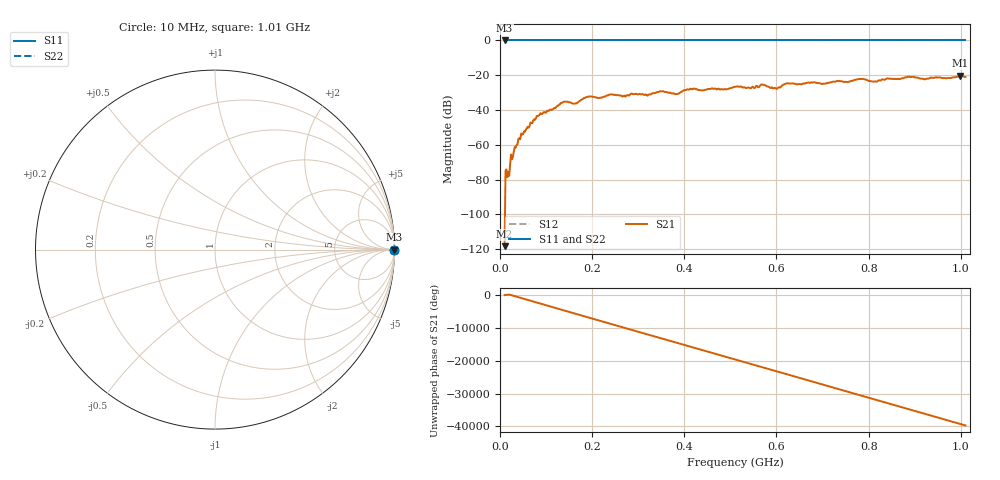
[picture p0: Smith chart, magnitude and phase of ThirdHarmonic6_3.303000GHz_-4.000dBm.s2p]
! 8/17/2025 10:18:07 AM
! C:\ANRITSUVNA\TEMP\TEMP.S2P
! CHANNEL.1
! TR.MEASUREMENT
! RAW.DATA
! RF.CORRECTION.OFF
! AVERAGING.OFF
! IF.BANDWIDTH: 5KHZ
! SWEEPTYPE:  FREQ.SWEEP(Linear)
! Reference Plane Port Info
! PORT:  PORT1  PORT2
! DISTANCE:  0  m  0  m
! TIME:  0  s  0  s
! PHASE.OFFSET:  0  deg.  0  deg.
! LOSS:  0  dB  0  dB
! REF.LOSS:  0  dB  0  dB
! REF.FREQ:  0  Hz  0  Hz
! Power Info
! POWER:  -20  dBm  -20  dBm
! EFF.POWER:  -20  dBm  -20  dBm
! SOURCE.ATTEN:  0  dB  0  dB
! TEST.ATTEN:  0  dB  0  dB
# GHZ S RI R 50.0
! FREQ.GHZ  S11RE  S11IM  S21RE  S21IM  S12RE  S12IM  S22RE  S22IM
!; PortSelection: Port_12
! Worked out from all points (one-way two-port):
!   501 points, 10 MHz to 1.01 GHz, reference 50 ohm
!   highest |S21| = -20.33 dB at 998 MHz (marker M1); lowest = -118.3 dB at 10 MHz (marker M2)
!   lowest |S11| = 0.0 dB at 10 MHz (marker M3)
!   |S11| at or under -10 dB: nowhere
!   |S22| runs from 0.0 to 0.0 dB; largest |S21 - S12| = 1.1
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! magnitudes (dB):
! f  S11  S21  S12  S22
! 10 MHz  0.0  -118.3  0.0  0.0
! 18 MHz  0.0  -75.5  0.0  0.0
! 28 MHz  0.0  -66.9  0.0  0.0
! 44 MHz  0.0  -56.7  0.0  0.0
! 84 MHz  0.0  -43.2  0.0  0.0
! 136 MHz  0.0  -35.6  0.0  0.0
! 162 MHz  0.0  -36.3  0.0  0.0
! 178 MHz  0.0  -33.8  0.0  0.0
! 344 MHz  0.0  -29.6  0.0  0.0
! 384 MHz  0.0  -30.8  0.0  0.0
! 410 MHz  0.0  -28.3  0.0  0.0
! 510 MHz  0.0  -26.6  0.0  0.0
! 548 MHz  0.0  -26.6  0.0  0.0
! 570 MHz  0.0  -25.4  0.0  0.0
! 598 MHz  0.0  -27.4  0.0  0.0
! 622 MHz  0.0  -24.7  0.0  0.0
! 678 MHz  0.0  -24.2  0.0  0.0
! 784 MHz  0.0  -22.2  0.0  0.0
! 814 MHz  0.0  -23.5  0.0  0.0
! 844 MHz  0.0  -22.0  0.0  0.0
! 998 MHz  0.0  -20.3  0.0  0.0
! 1.01 GHz  0.0  -21.0  0.0  0.0
